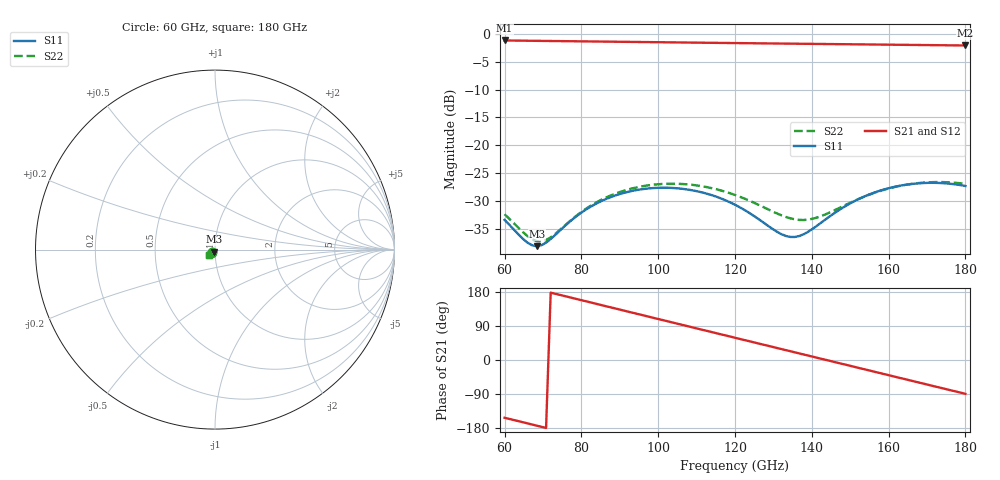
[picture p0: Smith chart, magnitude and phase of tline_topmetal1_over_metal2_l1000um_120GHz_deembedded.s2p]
! Created with skrf 2.2.0 (http://scikit-rf.org).
# GHz S DB R 50.0
! Port[1] = P1
! Port[2] = P2
!freq dBS11 angS11 dBS21 angS21 dBS12 angS12 dBS22 angS22
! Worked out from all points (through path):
!   101 points, 60 GHz to 180 GHz, reference 50 ohm
!   highest |S21| = -1.19 dB at 60 GHz (marker M1); lowest = -2.1 dB at 180 GHz (marker M2)
!   group delay of S21, straight-line fit = 6.87 ps
!   lowest |S11| = -38.1 dB at 68.4 GHz (marker M3), VSWR 1.03, Z = 49.5 - j1.15 ohm
!   |S11| at or under -10 dB: start of sweep to end of sweep
!   |S22| runs from -37.2 to -26.6 dB; largest |S21 - S12| = 1e-13
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60  -33.38 -143.3  -1.19 -152.4  -1.19 -152.4  -32.38 -143.7
66  -37.49 -126.3  -1.24 -167.3  -1.24 -167.3  -36.31 -130.6
68.4  -38.10 -110.9  -1.26 -173.3  -1.26 -173.3  -37.20 -117.3
72  -36.82 -90.5  -1.29 177.7  -1.29 177.7  -36.52 -96.5
80.4  -31.89 -81.4  -1.35 156.9  -1.35 156.9  -31.76 -82.6
85.2  -30.01 -87.0  -1.39 144.9  -1.39 144.9  -29.77 -86.9
91.2  -28.51 -97.2  -1.44 130.0  -1.44 130.0  -28.12 -95.9
100.8  -27.61 -115.7  -1.51 106.2  -1.51 106.2  -26.95 -113.1
105.6  -27.76 -124.9  -1.55 94.3  -1.55 94.3  -26.92 -121.7
110.4  -28.29 -133.6  -1.59 82.5  -1.59 82.5  -27.24 -129.7
115.2  -29.24 -141.1  -1.62 70.6  -1.62 70.6  -27.90 -136.8
120  -30.67 -146.7  -1.66 58.7  -1.66 58.7  -28.91 -142.2
127.2  -33.76 -146.5  -1.71 40.9  -1.71 40.9  -31.03 -144.4
133.2  -36.26 -129.4  -1.76 26.1  -1.76 26.1  -32.85 -136.9
136.8  -36.27 -112.5  -1.78 17.2  -1.78 17.2  -33.39 -127.8
140.4  -34.90 -99.4  -1.81 8.3  -1.81 8.3  -33.15 -117.9
145.2  -32.49 -92.6  -1.84 -3.5  -1.84 -3.5  -31.88 -108.7
150  -30.42 -93.5  -1.87 -15.4  -1.87 -15.4  -30.30 -105.7
154.8  -28.87 -98.4  -1.91 -27.2  -1.91 -27.2  -28.90 -107.4
160.8  -27.57 -106.9  -1.95 -42.0  -1.95 -42.0  -27.61 -113.0
170.4  -26.74 -122.8  -2.02 -65.6  -2.02 -65.6  -26.64 -125.6
180  -27.30 -138.4  -2.09 -89.3  -2.09 -89.3  -26.92 -138.8
